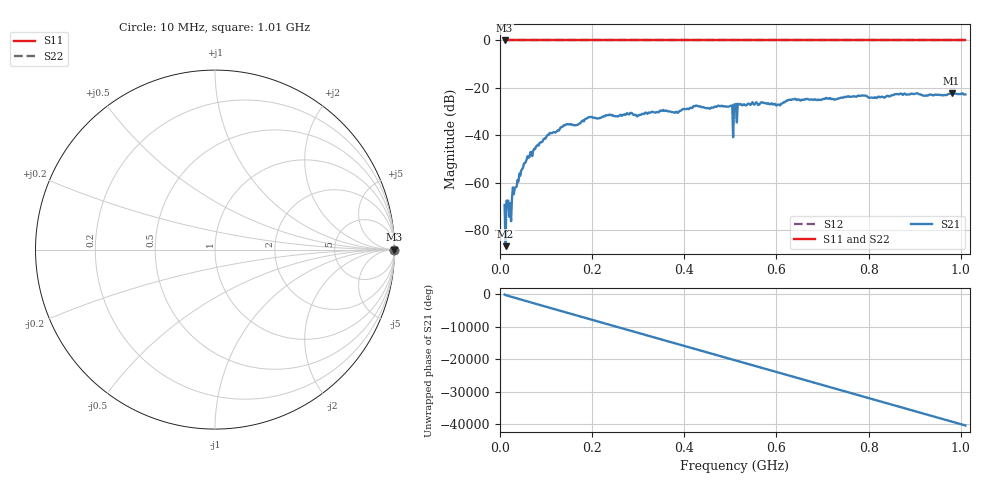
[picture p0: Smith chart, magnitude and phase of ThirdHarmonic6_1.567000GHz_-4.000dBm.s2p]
! 8/16/2025 6:37:27 PM
! C:\ANRITSUVNA\TEMP\TEMP.S2P
! CHANNEL.1
! TR.MEASUREMENT
! RAW.DATA
! RF.CORRECTION.OFF
! AVERAGING.OFF
! IF.BANDWIDTH: 5KHZ
! SWEEPTYPE:  FREQ.SWEEP(Linear)
! Reference Plane Port Info
! PORT:  PORT1  PORT2
! DISTANCE:  0  m  0  m
! TIME:  0  s  0  s
! PHASE.OFFSET:  0  deg.  0  deg.
! LOSS:  0  dB  0  dB
! REF.LOSS:  0  dB  0  dB
! REF.FREQ:  0  Hz  0  Hz
! Power Info
! POWER:  -20  dBm  -20  dBm
! EFF.POWER:  -20  dBm  -20  dBm
! SOURCE.ATTEN:  0  dB  0  dB
! TEST.ATTEN:  0  dB  0  dB
# GHZ S RI R 50.0
! FREQ.GHZ  S11RE  S11IM  S21RE  S21IM  S12RE  S12IM  S22RE  S22IM
!; PortSelection: Port_12
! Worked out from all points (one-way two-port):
!   501 points, 10 MHz to 1.01 GHz, reference 50 ohm
!   highest |S21| = -22.30 dB at 980 MHz (marker M1); lowest = -86.7 dB at 12 MHz (marker M2)
!   lowest |S11| = 0.0 dB at 10 MHz (marker M3)
!   |S11| at or under -10 dB: nowhere
!   |S22| runs from 0.0 to 0.0 dB; largest |S21 - S12| = 1.1
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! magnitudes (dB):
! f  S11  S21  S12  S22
! 10 MHz  0.0  -69.4  0.0  0.0
! 12 MHz  0.0  -86.7  0.0  0.0
! 16 MHz  0.0  -67.5  0.0  0.0
! 18 MHz  0.0  -67.5  0.0  0.0
! 22 MHz  0.0  -68.6  0.0  0.0
! 30 MHz  0.0  -64.8  0.0  0.0
! 50 MHz  0.0  -53.6  0.0  0.0
! 78 MHz  0.0  -44.9  0.0  0.0
! 136 MHz  0.0  -36.3  0.0  0.0
! 178 MHz  0.0  -34.0  0.0  0.0
! 196 MHz  0.0  -32.3  0.0  0.0
! 344 MHz  0.0  -30.3  0.0  0.0
! 500 MHz  0.0  -27.6  0.0  0.0
! 502 MHz  0.0  -27.5  0.0  0.0
! 510 MHz  0.0  -26.9  0.0  0.0
! 512 MHz  0.0  -26.8  0.0  0.0
! 520 MHz  0.0  -26.9  0.0  0.0
! 604 MHz  0.0  -27.0  0.0  0.0
! 678 MHz  0.0  -25.0  0.0  0.0
! 844 MHz  0.0  -23.6  0.0  0.0
! 980 MHz  0.0  -22.3  0.0  0.0
! 1.01 GHz  0.0  -22.7  0.0  0.0
